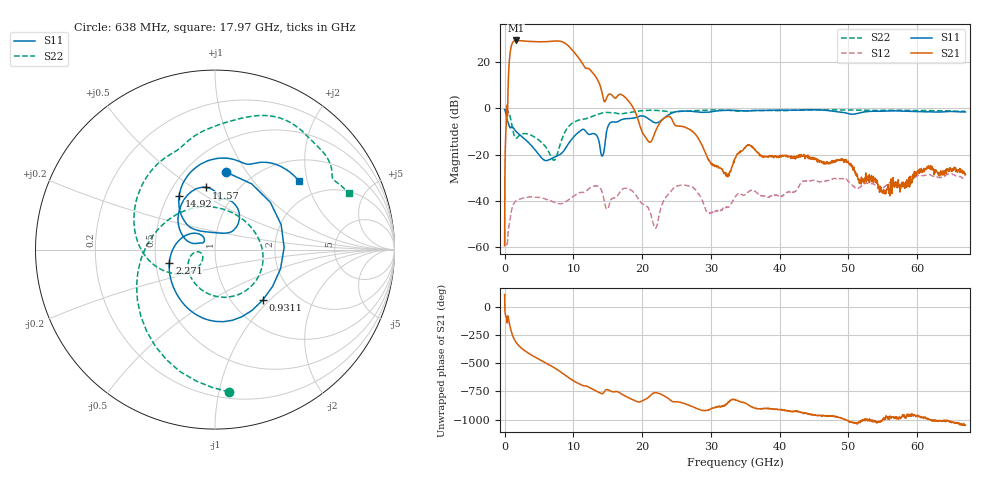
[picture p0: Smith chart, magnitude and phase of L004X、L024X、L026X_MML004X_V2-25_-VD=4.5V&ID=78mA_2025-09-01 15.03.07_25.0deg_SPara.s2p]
!Keysight Technologies,N5247B,MY63057157,A.17.10.07
!Date: Monday, September 01, 2025 15:10:05
!Correction: S11(C  2-Port  )
!S21(C  2-Port  )
!S12(C  2-Port  )
!S22(C  2-Port  )
!S2P File: Measurements: S11, S21, S12, S22:
# Hz S  dB  R 50
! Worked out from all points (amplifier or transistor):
!   1601 points, 10 MHz to 67 GHz, reference 50 ohm
!   highest |S21| = 29.4 dB at 1.685 GHz (marker M1)
!   |S21| within 3 dB of that: 943.2 MHz to 9.499 GHz (8.556 GHz wide, 164 % of centre)
!   unconditionally stable (mu >= 1): start of sweep to end of sweep
!   at 11.15 GHz: K = 2.05, MAG = 22.4 dB, |S12| = -36.3 dB
!   at 33.51 GHz: K = 19.04, MAG = -7.4 dB, |S12| = -38.3 dB
!   at 67 GHz: K = 30.16, MAG = -16.8 dB, |S12| = -30.4 dB
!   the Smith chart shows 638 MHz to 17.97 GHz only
!   S11 on the Smith chart (normalised r, x): 638 MHz: 0.76, +0.81; 931.1 MHz: 1.37, -0.91; 2.271 GHz: 0.59, -0.09; 11.57 GHz: 0.72, +0.57; 14.92 GHz: 0.57, +0.39; 17.97 GHz: 1.48, +1.79
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1e7  -0.51 -26.6  -59.27 108.6  -56.93 163.3  -0.29 -12.2
6.380312e8  -7.22 81.6  18.06 -124.7  -50.80 -117.6  -1.98 -84.4
9.311125e8  -8.24 -46.9  26.22 152.6  -45.23 168.0  -5.09 -137.9
1.307931e9  -8.54 -108.0  28.97 85.6  -41.31 115.8  -10.71 138.3
1.68475e9  -9.97 -135.2  29.38 44.7  -39.88 85.3  -12.89 59.5
2.270912e9  -11.54 -163.9  29.27 3.6  -39.10 57.8  -11.38 -7.3
3.317631e9  -14.24 159.8  29.05 -45.1  -38.35 30.6  -10.98 -62.8
4.448088e9  -17.93 136.2  28.83 -86.6  -38.37 9.6  -12.52 -108.0
5.746019e9  -22.25 139.8  28.81 -129.2  -38.95 -6.4  -15.74 -155.3
7.127688e9  -21.21 155.4  29.10 -175.9  -40.42 -13.8  -22.34 -159.9
7.923194e9  -20.11 158.0  29.12 152.3  -41.12 -12.3  -17.10 -134.1
8.844306e9  -17.32 164.4  28.09 111.4  -40.36 -5.2  -9.82 -160.3
9.891025e9  -12.86 150.1  25.11 68.5  -38.18 -6.9  -6.30 158.9
1.118896e10  -9.27 114.7  20.16 26.6  -36.26 -22.3  -4.75 120.9
1.156578e10  -9.12 98.3  18.28 18.4  -36.25 -25.4  -4.61 113.0
1.491528e10  -8.92 124.1  5.08 -13.8  -43.50 -72.4  -1.72 53.8
1.797169e10  -4.36 39.3  3.40 -84.8  -34.65 -96.7  -1.84 23.0
2.236791e10  -5.97 -0.1  -7.24 -46.5  -47.80 22.0  -0.88 -17.5
3.3505e10  -0.83 -80.1  -21.58 -103.4  -38.32 -117.4  -1.10 -73.8
4.468396e10  -0.54 -124.5  -21.43 127.1  -31.10 171.9  -0.63 -108.4
5.586291e10  -1.09 -152.4  -35.21 83.8  -32.22 126.3  -0.76 -141.4
6.7e10  -1.52 179.6  -28.51 28.9  -30.43 53.6  -1.15 -175.1
